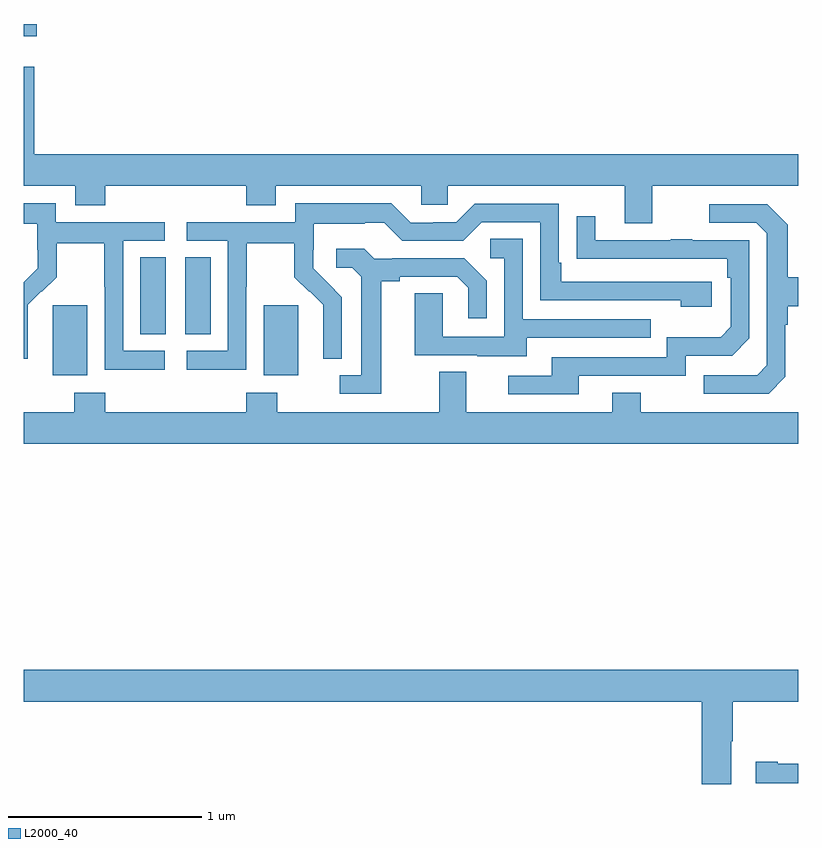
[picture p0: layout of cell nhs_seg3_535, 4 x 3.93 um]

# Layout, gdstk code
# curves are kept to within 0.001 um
import gdstk
lib = gdstk.Library(unit=1e-6, precision=1e-09)
def R(c, l, rs):  # rectangles x0, y0, x1, y1
    for r in rs: c.add(gdstk.rectangle(r[:2], r[2:], *l))
def P(c, l, *ps):  # polygons
    for p in ps: c.add(gdstk.Polygon(p, *l))
L2000_40 = (2000, 40)

nhs_seg3_535 = lib.new_cell('nhs_seg3_535')
R(nhs_seg3_535, L2000_40, [(137.15,718.586,137.329,718.947), (138.239,718.586,138.418,718.947), (137.603,718.798,137.734,719.195), (137.834,718.798,137.965,719.195), (137,720.338,137.068,720.4)])
P(nhs_seg3_535, L2000_40, [(137.053,720.178),(137,720.178),(137,719.564),(137.267,719.564),(137.267,719.465),(137.42,719.465),(137.42,719.564),(138.149,719.564),(138.149,719.465),(138.301,719.465),(138.301,719.564),(139.053,719.564),(139.053,719.466),(139.191,719.466),(139.191,719.564),(140.105,719.564),(140.105,719.37),(140.245,719.37),(140.245,719.564),(141,719.564),(141,719.728),(137.053,719.728)],
  [(138.15,719.044),(138.153,719.044),(138.153,719.268),(138.397,719.268),(138.397,719.093),(138.474,719.016),(138.477,719.019),(138.548,718.949),(138.548,718.826),(138.546,718.826),(138.546,718.672),(138.642,718.672),(138.642,718.99),(138.496,719.138),(138.496,719.235),(138.498,719.235),(138.498,719.369),(138.761,719.369),(138.761,719.373),(138.861,719.373),(138.954,719.28),(139.269,719.28),(139.365,719.376),(139.668,719.376),(139.668,718.974),(140.393,718.974),(140.393,718.94),(140.554,718.94),(140.554,719.07),(139.777,719.07),(139.777,719.167),(139.764,719.167),(139.764,719.472),(139.329,719.472),(139.233,719.376),(139.115,719.376),(139.115,719.373),(138.999,719.373),(138.899,719.473),(138.402,719.473),(138.402,719.376),(137.841,719.376),(137.841,719.28),(138.054,719.28),(138.054,718.713),(137.841,718.713),(137.841,718.615),(138.15,718.615)],
  [(137.728,718.713),(137.514,718.713),(137.514,719.28),(137.728,719.28),(137.728,719.376),(137.166,719.376),(137.166,719.473),(137,719.473),(137,719.369),(137.07,719.369),(137.07,719.235),(137.072,719.235),(137.072,719.138),(137,719.066),(137,718.672),(137.022,718.672),(137.021,718.949),(137.091,719.019),(137.094,719.016),(137.171,719.093),(137.171,719.268),(137.416,719.268),(137.416,719.044),(137.418,719.044),(137.418,718.615),(137.728,718.615)],
  [(140.934,718.578),(140.934,718.847),(140.947,718.847),(140.947,718.943),(141,718.943),(141,719.091),(140.947,719.091),(140.947,719.363),(140.841,719.469),(140.541,719.469),(140.541,719.373),(140.784,719.373),(140.838,719.319),(140.838,718.638),(140.787,718.587),(140.511,718.587),(140.511,718.491),(140.847,718.491)],
  [(139.867,718.584),(140.418,718.584),(140.418,718.686),(140.658,718.686),(140.748,718.776),(140.748,719.283),(140.453,719.283),(140.453,719.288),(140.341,719.288),(140.341,719.283),(139.951,719.283),(139.951,719.407),(139.855,719.407),(139.855,719.188),(140.632,719.187),(140.632,719.09),(140.652,719.09),(140.652,718.836),(140.599,718.783),(140.322,718.783),(140.322,718.68),(139.727,718.68),(139.727,718.584),(139.503,718.584),(139.503,718.488),(139.867,718.488)],
  [(139.597,718.779),(140.237,718.779),(140.237,718.875),(139.578,718.875),(139.578,719.291),(139.41,719.291),(139.41,719.19),(139.482,719.19),(139.482,718.785),(139.164,718.785),(139.164,719.009),(139.019,719.009),(139.019,718.689),(139.343,718.689),(139.343,718.685),(139.597,718.685)],
  [(138.847,719.072),(138.943,719.072),(138.943,719.094),(139.238,719.094),(139.295,719.037),(139.295,718.881),(139.392,718.881),(139.392,719.074),(139.276,719.19),(138.904,719.19),(138.904,719.187),(138.81,719.187),(138.758,719.239),(138.615,719.239),(138.615,719.142),(138.696,719.142),(138.743,719.095),(138.743,718.587),(138.633,718.587),(138.633,718.491),(138.847,718.491)],
  [(141,718.396),(140.187,718.396),(140.187,718.495),(140.039,718.495),(140.039,718.396),(139.285,718.396),(139.285,718.604),(139.145,718.604),(139.145,718.396),(138.309,718.396),(138.309,718.495),(138.149,718.495),(138.149,718.396),(137.42,718.396),(137.42,718.495),(137.26,718.495),(137.26,718.396),(137,718.396),(137,718.232),(141,718.232)],
  [(140.653,716.696),(140.661,716.696),(140.661,716.9),(141,716.9),(141,717.064),(137,717.064),(137,716.9),(140.501,716.9),(140.501,716.475),(140.653,716.475)],
  [(141,716.58),(140.893,716.58),(140.893,716.59),(140.781,716.59),(140.781,716.48),(141,716.48)])

lib.write_gds('nhs_seg3_535.gds')
